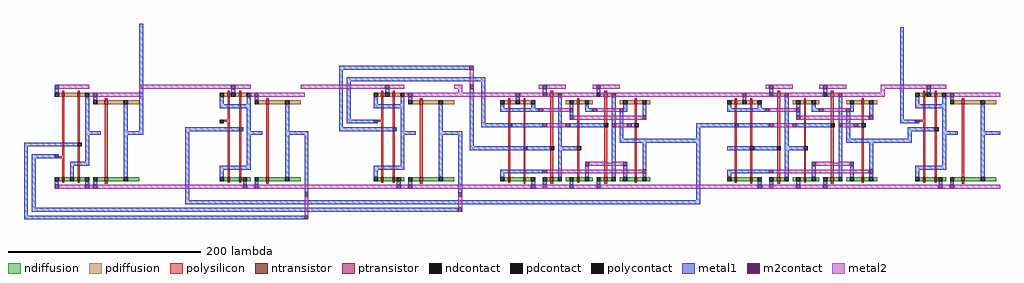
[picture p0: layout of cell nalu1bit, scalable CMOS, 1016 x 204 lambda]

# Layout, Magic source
magic
tech scmos
<< metal1 >>
rect -372 56 -368 172
rect -164 124 -28 128
rect -164 64 -160 124
rect -156 112 -12 116
rect -156 72 -152 112
rect -156 68 -124 72
rect -324 60 -288 64
rect -268 60 -264 64
rect -164 60 -128 64
rect -108 60 -104 64
rect -492 44 -460 48
rect -492 -28 -488 44
rect -484 32 -456 36
rect -484 -20 -480 32
rect -324 -12 -320 60
rect -200 -4 -196 60
rect -40 -4 -36 60
rect -28 44 -24 104
rect -16 68 -12 112
rect 420 72 424 168
rect 420 68 440 72
rect -16 64 4 68
rect 12 64 16 68
rect 208 64 240 68
rect 248 64 252 68
rect 208 52 212 64
rect 428 60 436 64
rect 428 52 432 60
rect 160 48 212 52
rect 396 48 432 52
rect -28 40 4 44
rect 28 40 32 44
rect 208 -12 212 48
rect -324 -16 212 -12
rect -484 -24 -40 -20
rect -492 -32 -200 -28
<< metal2 >>
rect -28 108 -24 124
rect -372 104 -288 108
rect -204 104 -128 108
rect -44 104 -36 108
rect 400 104 436 108
rect -40 100 -36 104
rect -40 96 0 100
rect 164 96 236 100
rect 400 96 404 104
rect -372 0 -288 4
rect -204 0 -128 4
rect -44 0 0 4
rect 164 0 236 4
rect 400 0 436 4
rect -200 -28 -196 -8
rect -40 -20 -36 -8
<< m2contact >>
rect -28 124 -24 128
rect -28 104 -24 108
rect -200 -8 -196 -4
rect -40 -8 -36 -4
rect -40 -24 -36 -20
rect -200 -32 -196 -28
use 2in-OR  2in-OR_0
transform 1 0 -460 0 1 0
box 0 0 88 108
use 2in-xor  2in-xor_0
transform 1 0 0 0 1 0
box 0 0 164 100
use 2in-xor  2in-xor_1
transform 1 0 236 0 1 0
box 0 0 164 100
use 2inAND  2inAND_0
transform 1 0 -128 0 1 0
box 0 0 88 108
use 2inAND  2inAND_1
transform 1 0 -288 0 1 0
box 0 0 88 108
use 2inAND  2inAND_2
transform 1 0 436 0 1 0
box 0 0 88 108
<< end >>

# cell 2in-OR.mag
magic
tech scmos
<< polysilicon >>
rect 8 100 10 102
rect 24 100 26 102
rect 8 34 10 96
rect 4 32 10 34
rect 8 12 10 32
rect 24 48 26 96
rect 24 12 26 44
rect 8 6 10 8
rect 24 6 26 8
<< ndiffusion >>
rect 4 8 8 12
rect 10 8 16 12
rect 20 8 24 12
rect 26 8 32 12
<< pdiffusion >>
rect 4 96 8 100
rect 10 96 24 100
rect 26 96 32 100
<< metal1 >>
rect 0 100 4 104
rect 32 60 36 96
rect 32 56 48 60
rect 72 56 88 60
rect 0 44 24 48
rect 32 28 36 56
rect 16 24 36 28
rect 16 12 20 24
rect 0 4 4 8
rect 32 4 36 8
<< metal2 >>
rect 4 104 36 108
rect 4 0 32 4
<< ntransistor >>
rect 8 8 10 12
rect 24 8 26 12
<< ptransistor >>
rect 8 96 10 100
rect 24 96 26 100
<< polycontact >>
rect 0 32 4 36
rect 24 44 28 48
<< ndcontact >>
rect 0 8 4 12
rect 16 8 20 12
rect 32 8 36 12
<< pdcontact >>
rect 0 96 4 100
rect 32 96 36 100
<< m2contact >>
rect 0 104 4 108
rect 0 0 4 4
rect 32 0 36 4
use inverter  inverter_0
transform 1 0 36 0 1 0
box 0 0 52 108
<< end >>

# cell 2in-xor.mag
magic
tech scmos
<< polysilicon >>
rect 12 92 14 94
rect 28 92 30 94
rect 84 92 86 94
rect 144 92 146 94
rect 12 68 14 88
rect 12 12 14 64
rect 28 44 30 88
rect 84 44 86 88
rect 144 68 146 88
rect 28 12 30 40
rect 84 12 86 40
rect 144 12 146 64
rect 12 6 14 8
rect 28 5 30 8
rect 84 6 86 8
rect 144 6 146 8
<< ndiffusion >>
rect 8 8 12 12
rect 14 8 28 12
rect 30 8 36 12
rect 72 8 76 12
rect 80 8 84 12
rect 86 8 92 12
rect 96 8 100 12
rect 128 8 132 12
rect 136 8 144 12
rect 146 8 152 12
rect 156 8 160 12
<< pdiffusion >>
rect 8 88 12 92
rect 14 88 20 92
rect 24 88 28 92
rect 30 88 36 92
rect 72 88 76 92
rect 80 88 84 92
rect 86 88 92 92
rect 96 88 100 92
rect 128 88 132 92
rect 136 88 144 92
rect 146 88 152 92
rect 156 88 160 92
<< metal1 >>
rect 20 92 24 96
rect 4 84 8 88
rect 36 84 40 88
rect 76 84 80 88
rect 4 80 44 84
rect 92 84 96 88
rect 92 80 100 84
rect 132 80 136 88
rect 76 76 80 80
rect 4 64 12 68
rect 16 64 48 68
rect 76 64 112 68
rect 128 52 132 80
rect 152 76 156 88
rect 140 64 144 68
rect 128 48 160 52
rect 4 40 28 44
rect 32 40 56 44
rect 64 40 84 44
rect 4 16 48 20
rect 4 12 8 16
rect 92 12 96 24
rect 36 4 40 8
rect 132 12 136 24
rect 152 20 156 48
rect 152 12 156 16
rect 76 4 80 8
<< metal2 >>
rect 0 96 20 100
rect 24 96 104 100
rect 108 96 164 100
rect 48 80 76 84
rect 104 80 128 84
rect 80 72 152 76
rect 52 64 72 68
rect 124 64 136 68
rect 96 27 113 28
rect 120 27 132 28
rect 96 24 132 27
rect 52 16 152 20
rect 0 0 36 4
rect 40 0 76 4
rect 80 0 104 4
rect 108 0 164 4
<< ntransistor >>
rect 12 8 14 12
rect 28 8 30 12
rect 84 8 86 12
rect 144 8 146 12
<< ptransistor >>
rect 12 88 14 92
rect 28 88 30 92
rect 84 88 86 92
rect 144 88 146 92
<< polycontact >>
rect 12 64 16 68
rect 112 64 116 68
rect 144 64 148 68
rect 28 40 32 44
rect 56 40 60 44
rect 84 40 88 44
<< ndcontact >>
rect 4 8 8 12
rect 36 8 40 12
rect 76 8 80 12
rect 92 8 96 12
rect 132 8 136 12
rect 152 8 156 12
<< pdcontact >>
rect 4 88 8 92
rect 20 88 24 92
rect 36 88 40 92
rect 76 88 80 92
rect 92 88 96 92
rect 132 88 136 92
rect 152 88 156 92
<< m2contact >>
rect 20 96 24 100
rect 44 80 48 84
rect 76 80 80 84
rect 100 80 104 84
rect 128 80 132 84
rect 76 72 80 76
rect 48 64 52 68
rect 72 64 76 68
rect 120 64 124 68
rect 152 72 156 76
rect 136 64 140 68
rect 92 24 96 28
rect 48 16 52 20
rect 36 0 40 4
rect 132 24 136 28
rect 152 16 156 20
rect 76 0 80 4
use inv  inv_0
transform 1 0 44 0 1 0
box 0 0 28 100
use inv  inv_1
transform 1 0 100 0 1 0
box 0 0 28 100
<< end >>

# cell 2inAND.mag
magic
tech scmos
<< polysilicon >>
rect 8 100 10 102
rect 20 100 22 102
rect 8 72 10 96
rect 4 70 10 72
rect 8 12 10 70
rect 20 64 22 96
rect 20 12 22 60
rect 8 6 10 8
rect 20 6 22 8
<< ndiffusion >>
rect 4 8 8 12
rect 10 8 20 12
rect 22 8 24 12
rect 28 8 32 12
<< pdiffusion >>
rect 4 96 8 100
rect 10 96 12 100
rect 16 96 20 100
rect 22 96 28 100
<< metal1 >>
rect 12 100 16 104
rect 0 88 4 96
rect 28 88 32 96
rect 0 84 32 88
rect 0 60 20 64
rect 28 60 32 84
rect 28 56 44 60
rect 68 56 88 60
rect 28 24 32 56
rect 0 20 32 24
rect 0 12 4 20
rect 24 4 28 8
<< metal2 >>
rect 0 104 12 108
rect 16 104 32 108
rect 0 0 24 4
rect 28 0 32 4
<< ntransistor >>
rect 8 8 10 12
rect 20 8 22 12
<< ptransistor >>
rect 8 96 10 100
rect 20 96 22 100
<< polycontact >>
rect 0 68 4 72
rect 20 60 24 64
<< ndcontact >>
rect 0 8 4 12
rect 24 8 28 12
<< pdcontact >>
rect 0 96 4 100
rect 12 96 16 100
rect 28 96 32 100
<< m2contact >>
rect 12 104 16 108
rect 24 0 28 4
use inverter  inverter_0
transform 1 0 32 0 1 0
box 0 0 52 108
<< end >>

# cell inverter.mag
magic
tech scmos
<< polysilicon >>
rect 16 92 19 94
rect 16 12 19 88
rect 16 5 19 8
<< ndiffusion >>
rect 8 8 16 12
rect 19 8 36 12
rect 40 8 52 12
<< pdiffusion >>
rect 8 88 16 92
rect 19 88 36 92
rect 40 88 52 92
<< metal1 >>
rect 4 92 8 96
rect 36 12 40 88
rect 4 4 8 8
<< metal2 >>
rect 0 96 4 100
rect 8 96 56 100
rect 0 0 4 4
rect 8 0 56 4
<< ntransistor >>
rect 16 8 19 12
<< ptransistor >>
rect 16 88 19 92
<< ndcontact >>
rect 4 8 8 12
rect 36 8 40 12
<< pdcontact >>
rect 4 88 8 92
rect 36 88 40 92
<< m2contact >>
rect 4 96 8 100
rect 4 0 8 4
<< end >>

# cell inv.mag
magic
tech scmos
<< polysilicon >>
rect 12 100 15 102
rect 12 12 15 96
rect 12 5 15 8
<< ndiffusion >>
rect 8 8 12 12
rect 15 8 20 12
<< pdiffusion >>
rect 8 96 12 100
rect 15 96 20 100
<< metal1 >>
rect 4 100 8 104
rect 20 12 24 96
rect 4 4 8 8
<< metal2 >>
rect 0 104 4 108
rect 8 104 28 108
rect 0 0 4 4
rect 8 0 28 4
<< ntransistor >>
rect 12 8 15 12
<< ptransistor >>
rect 12 96 15 100
<< ndcontact >>
rect 4 8 8 12
rect 20 8 24 12
<< pdcontact >>
rect 4 96 8 100
rect 20 96 24 100
<< m2contact >>
rect 4 104 8 108
rect 4 0 8 4
<< end >>
